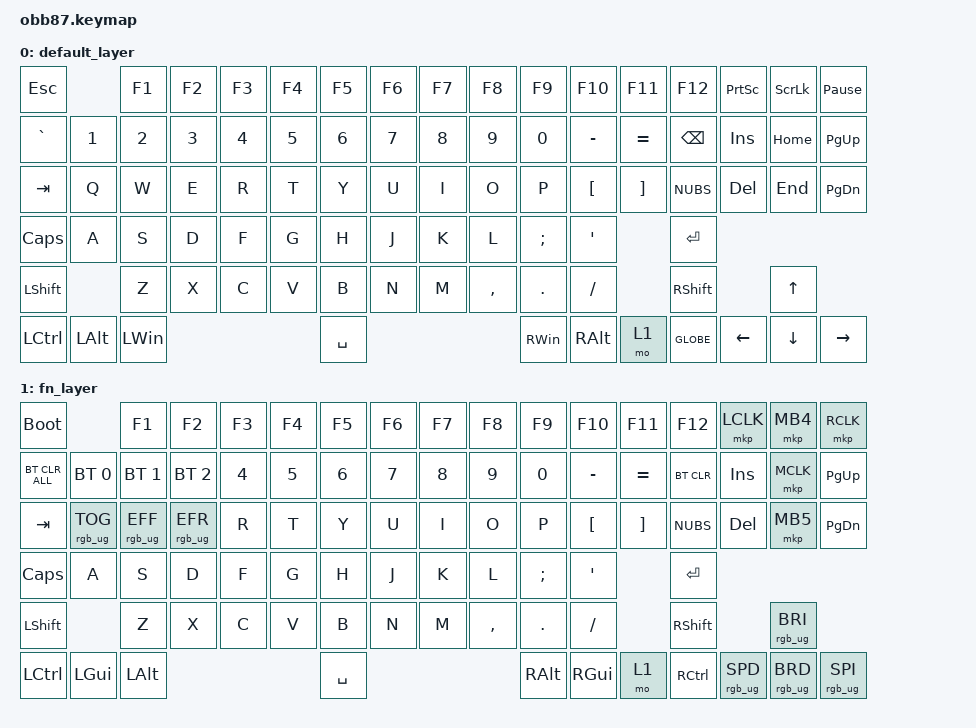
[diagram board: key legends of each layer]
/*
 * Copyright (c) 2020 The ZMK Contributors
 *
 * SPDX-License-Identifier: MIT
 */

#include <dt-bindings/zmk/mouse.h>
#include <behaviors.dtsi>
#include <dt-bindings/zmk/bt.h>
#include <dt-bindings/zmk/keys.h>
#include <dt-bindings/zmk/pointing.h>
#include <dt-bindings/zmk/rgb.h>

/ {
    keymap0: keymap {
        compatible = "zmk,keymap";

        default_layer {
            bindings = <
&kp ESC                  &kp F1        &kp F2  &kp F3  &kp F4  &kp F5     &kp F6  &kp F7  &kp F8     &kp F9         &kp F10        &kp F11    &kp F12    &kp PSCRN  &kp SLCK  &kp PAUSE_BREAK
&kp GRAVE  &kp N1        &kp N2        &kp N3  &kp N4  &kp N5  &kp N6     &kp N7  &kp N8  &kp N9     &kp N0         &kp MINUS      &kp EQUAL  &kp BSPC   &kp INS    &kp HOME  &kp PG_UP
&kp TAB    &kp Q         &kp W         &kp E   &kp R   &kp T   &kp Y      &kp U   &kp I   &kp O      &kp P          &kp LBKT       &kp RBKT   &kp NUBS   &kp DEL    &kp END   &kp PG_DN
&kp CAPS   &kp A         &kp S         &kp D   &kp F   &kp G   &kp H      &kp J   &kp K   &kp L      &kp SEMI       &kp SQT                   &kp RET
&kp LSHFT                &kp Z         &kp X   &kp C   &kp V   &kp B      &kp N   &kp M   &kp COMMA  &kp DOT        &kp FSLH                  &kp RSHFT             &kp UP
&kp LCTRL  &kp LEFT_ALT  &kp LEFT_WIN                          &kp SPACE                             &kp RIGHT_WIN  &kp RIGHT_ALT  &mo 1      &kp GLOBE  &kp LEFT   &kp DOWN  &kp RIGHT
            >;
        };

        fn_layer {
            bindings = <
&bootloader                      &kp F1           &kp F2           &kp F3  &kp F4  &kp F5     &kp F6  &kp F7  &kp F8     &kp F9    &kp F10    &kp F11    &kp F12     &mkp LCLK        &mkp MB4         &mkp RCLK
&bt BT_CLR_ALL  &bt BT_SEL 0     &bt BT_SEL 1     &bt BT_SEL 2     &kp N4  &kp N5  &kp N6     &kp N7  &kp N8  &kp N9     &kp N0    &kp MINUS  &kp EQUAL  &bt BT_CLR  &kp INS          &mkp MCLK        &kp PG_UP
&kp TAB         &rgb_ug RGB_TOG  &rgb_ug RGB_EFF  &rgb_ug RGB_EFR  &kp R   &kp T   &kp Y      &kp U   &kp I   &kp O      &kp P     &kp LBKT   &kp RBKT   &kp NUBS    &kp DEL          &mkp MB5         &kp PG_DN
&kp CAPS        &kp A            &kp S            &kp D            &kp F   &kp G   &kp H      &kp J   &kp K   &kp L      &kp SEMI  &kp SQT               &kp RET
&kp LSHFT                        &kp Z            &kp X            &kp C   &kp V   &kp B      &kp N   &kp M   &kp COMMA  &kp DOT   &kp FSLH              &kp RSHFT                    &rgb_ug RGB_BRI
&kp LCTRL       &kp LGUI         &kp LALT                                          &kp SPACE                             &kp RALT  &kp RGUI   &mo 1      &kp RCTRL   &rgb_ug RGB_SPD  &rgb_ug RGB_BRD  &rgb_ug RGB_SPI
            >;
        };
    };
};
